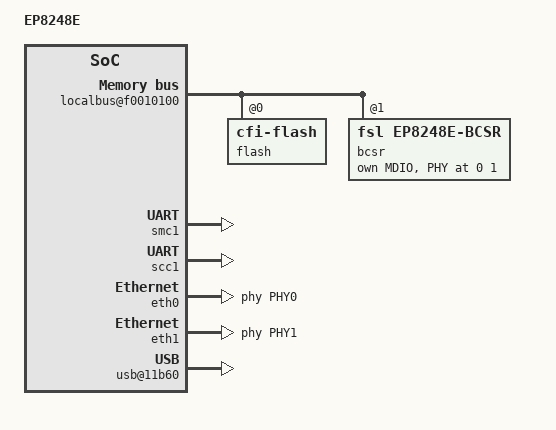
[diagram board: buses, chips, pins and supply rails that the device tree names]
/*
 * Device Tree for the Embedded Planet EP8248E board running PlanetCore.
 *
 * Copyright 2007 Freescale Semiconductor Inc.
 *
 * This program is free software; you can redistribute  it and/or modify it
 * under  the terms of  the GNU General  Public License as published by the
 * Free Software Foundation;  either version 2 of the  License, or (at your
 * option) any later version.
 */

/dts-v1/;
/ {
	model = "EP8248E";
	compatible = "fsl,ep8248e";
	#address-cells = <1>;
	#size-cells = <1>;

	aliases {
		planetcore-SMC1 = &smc1;
		planetcore-SCC1 = &scc1;
		ethernet0 = &eth0;
		ethernet1 = &eth1;
		serial0 = &smc1;
		serial1 = &scc1;
	};

	cpus {
		#address-cells = <1>;
		#size-cells = <0>;

		PowerPC,8248@0 {
			device_type = "cpu";
			reg = <0>;
			d-cache-line-size = <32>;
			i-cache-line-size = <32>;
			d-cache-size = <16384>;
			i-cache-size = <16384>;
			timebase-frequency = <0>;
			clock-frequency = <0>;
		};
	};

	localbus@f0010100 {
		compatible = "fsl,mpc8248-localbus",
		             "fsl,pq2-localbus",
		             "simple-bus";
		#address-cells = <2>;
		#size-cells = <1>;
		reg = <0xf0010100 0x40>;

		ranges = <0 0 0xfc000000 0x04000000
		          1 0 0xfa000000 0x00008000>;

		flash@0,3800000 {
			compatible = "cfi-flash";
			reg = <0 0x3800000 0x800000>;
			bank-width = <4>;
			device-width = <2>;
		};

		bcsr@1,0 {
			#address-cells = <2>;
			#size-cells = <1>;
			reg = <1 0 0x10>;
			compatible = "fsl,ep8248e-bcsr";
			ranges;

			mdio {
				device_type = "mdio";
				compatible = "fsl,ep8248e-mdio-bitbang";
				#address-cells = <1>;
				#size-cells = <0>;
				reg = <1 8 1>;

				PHY0: ethernet-phy@0 {
					interrupt-parent = <&PIC>;
					reg = <0>;
					device_type = "ethernet-phy";
				};

				PHY1: ethernet-phy@1 {
					interrupt-parent = <&PIC>;
					reg = <1>;
					device_type = "ethernet-phy";
				};
			};
		};
	};

	memory {
		device_type = "memory";
		reg = <0 0>;
	};

	soc@f0000000 {
		#address-cells = <1>;
		#size-cells = <1>;
		compatible = "fsl,mpc8248-immr", "fsl,pq2-soc", "simple-bus";
		ranges = <0x00000000 0xf0000000 0x00053000>;

		// Temporary until code stops depending on it.
		device_type = "soc";

		// Temporary -- will go away once kernel uses ranges for get_immrbase().
		reg = <0xf0000000 0x00053000>;

		cpm@119c0 {
			#address-cells = <1>;
			#size-cells = <1>;
			#interrupt-cells = <2>;
			compatible = "fsl,mpc8248-cpm", "fsl,cpm2",
			             "simple-bus";
			reg = <0x119c0 0x30>;
			ranges;

			muram {
				#address-cells = <1>;
				#size-cells = <1>;
				ranges = <0 0 0x10000>;

				data@0 {
					compatible = "fsl,cpm-muram-data";
					reg = <0 0x2000 0x9800 0x800>;
				};
			};

			brg@119f0 {
				compatible = "fsl,mpc8248-brg",
				             "fsl,cpm2-brg",
				             "fsl,cpm-brg";
				reg = <0x119f0 0x10 0x115f0 0x10>;
			};

			/* Monitor port/SMC1 */
			smc1: serial@11a80 {
				device_type = "serial";
				compatible = "fsl,mpc8248-smc-uart",
				             "fsl,cpm2-smc-uart";
				reg = <0x11a80 0x20 0x87fc 2>;
				interrupts = <4 8>;
				interrupt-parent = <&PIC>;
				fsl,cpm-brg = <7>;
				fsl,cpm-command = <0x1d000000>;
				linux,planetcore-label = "SMC1";
			};

			/* "Serial" port/SCC1 */
			scc1: serial@11a00 {
				device_type = "serial";
				compatible = "fsl,mpc8248-scc-uart",
				             "fsl,cpm2-scc-uart";
				reg = <0x11a00 0x20 0x8000 0x100>;
				interrupts = <40 8>;
				interrupt-parent = <&PIC>;
				fsl,cpm-brg = <1>;
				fsl,cpm-command = <0x00800000>;
				linux,planetcore-label = "SCC1";
			};

			eth0: ethernet@11300 {
				device_type = "network";
				compatible = "fsl,mpc8248-fcc-enet",
				             "fsl,cpm2-fcc-enet";
				reg = <0x11300 0x20 0x8400 0x100 0x11390 1>;
				local-mac-address = [ 00 00 00 00 00 00 ];
				interrupts = <32 8>;
				interrupt-parent = <&PIC>;
				phy-handle = <&PHY0>;
				linux,network-index = <0>;
				fsl,cpm-command = <0x12000300>;
			};

			eth1: ethernet@11320 {
				device_type = "network";
				compatible = "fsl,mpc8248-fcc-enet",
				             "fsl,cpm2-fcc-enet";
				reg = <0x11320 0x20 0x8500 0x100 0x113b0 1>;
				local-mac-address = [ 00 00 00 00 00 00 ];
				interrupts = <33 8>;
				interrupt-parent = <&PIC>;
				phy-handle = <&PHY1>;
				linux,network-index = <1>;
				fsl,cpm-command = <0x16200300>;
			};

			usb@11b60 {
				#address-cells = <1>;
				#size-cells = <0>;
				compatible = "fsl,mpc8248-usb",
				             "fsl,cpm2-usb";
				reg = <0x11b60 0x18 0x8b00 0x100>;
				interrupt-parent = <&PIC>;
				interrupts = <11 8>;
				fsl,cpm-command = <0x2e600000>;
			};
		};

		PIC: interrupt-controller@10c00 {
			#interrupt-cells = <2>;
			interrupt-controller;
			reg = <0x10c00 0x80>;
			compatible = "fsl,mpc8248-pic", "fsl,pq2-pic";
		};
	};
};
